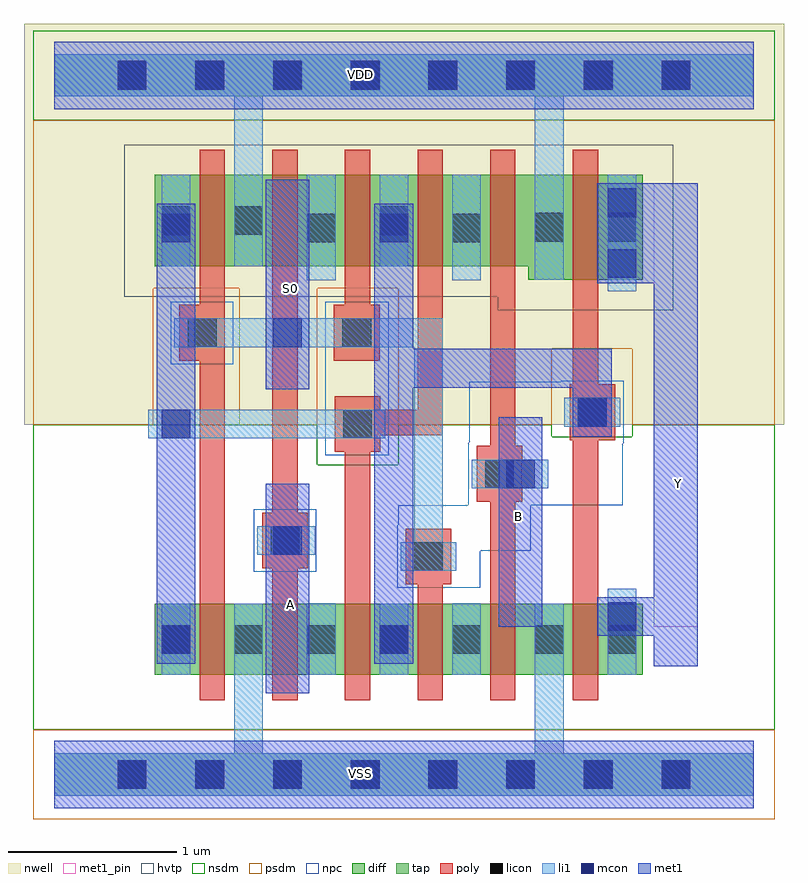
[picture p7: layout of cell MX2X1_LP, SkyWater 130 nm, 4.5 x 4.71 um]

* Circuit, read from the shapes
.subckt MX2X1_LP A B S0 VDD VSS Y
XM1 VSS S0 n1 VSS sky130_fd_pr__nfet_01v8 w=0.42 l=0.15
XM2 n2 A VSS VSS sky130_fd_pr__nfet_01v8 w=0.42 l=0.15
XM3 n3 n1 n2 VSS sky130_fd_pr__nfet_01v8 w=0.42 l=0.15
XM4 n4 S0 n3 VSS sky130_fd_pr__nfet_01v8 w=0.42 l=0.15
XM5 VSS B n4 VSS sky130_fd_pr__nfet_01v8 w=0.42 l=0.15
XM6 Y n3 VSS VSS sky130_fd_pr__nfet_01v8 w=0.42 l=0.15
XM7 VDD S0 n1 VDD sky130_fd_pr__pfet_01v8_hvt w=0.54 l=0.15
XM8 n5 A VDD VDD sky130_fd_pr__pfet_01v8_hvt w=0.54 l=0.15
XM9 n3 S0 n5 VDD sky130_fd_pr__pfet_01v8_hvt w=0.54 l=0.15
XM10 n6 n1 n3 VDD sky130_fd_pr__pfet_01v8_hvt w=0.54 l=0.15
XM11 VDD B n6 VDD sky130_fd_pr__pfet_01v8_hvt w=0.54 l=0.15
XM12 Y n3 VDD VDD sky130_fd_pr__pfet_01v8_hvt w=0.62 l=0.15
.ends

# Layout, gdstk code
from math import pi, radians
import gdstk
lib = gdstk.Library(unit=1e-6, precision=1e-09)
def R(c, l, rs):  # rectangles x0, y0, x1, y1
    for r in rs: c.add(gdstk.rectangle(r[:2], r[2:], *l))
def A(c, l, x, y, w, h, nx, ny, dx, dy):  # array of equal rectangles
    R(c, l, [(x+i*dx, y+j*dy, x+i*dx+w, y+j*dy+h) for i in range(nx) for j in range(ny)])
def P(c, l, *ps):  # polygons
    for p in ps: c.add(gdstk.Polygon(p, *l))
nwell = (64, 20)
diff = (65, 20)
tap = (65, 44)
poly = (66, 20)
licon = (66, 44)
li1 = (67, 20)
mcon = (67, 44)
met1_pin = (68, 16)
met1 = (68, 20)
hvtp = (78, 44)
nsdm = (93, 44)
psdm = (94, 20)
npc = (95, 20)

pyl1con_c_cdns_752016907 = lib.new_cell('PYL1CON_C_CDNS_752016907000')
R(pyl1con_c_cdns_752016907, poly, [(-0.135,-0.165,0.135,0.165)])
R(pyl1con_c_cdns_752016907, licon, [(-0.085,-0.085,0.085,0.085)])
R(pyl1con_c_cdns_752016907, npc, [(-0.185,-0.185,0.185,0.185)])

l1m1_c_cdns_752016907001 = lib.new_cell('L1M1_C_CDNS_752016907001')
R(l1m1_c_cdns_752016907001, li1, [(-0.085,-0.165,0.085,0.165)])
R(l1m1_c_cdns_752016907001, mcon, [(-0.085,-0.085,0.085,0.085)])
R(l1m1_c_cdns_752016907001, met1, [(-0.115,-0.145,0.115,0.145)])

c_l1m1_c_cdns_752016907001 = lib.new_cell('L1M1_C_CDNS_7520169070010')
R(c_l1m1_c_cdns_752016907001, li1, [(-0.085,-0.345,0.085,0.345)])
R(c_l1m1_c_cdns_752016907001, mcon, [(-0.085,-0.265,0.085,-0.095), (-0.085,0.095,0.085,0.265)])
R(c_l1m1_c_cdns_752016907001, met1, [(-0.145,-0.295,0.195,0.295)])

c_l1m1_c_cdns_752016907001_ = lib.new_cell('L1M1_C_CDNS_7520169070011')
R(c_l1m1_c_cdns_752016907001_, li1, [(-0.085,-0.165,0.085,0.165)])
R(c_l1m1_c_cdns_752016907001_, mcon, [(-0.085,-0.085,0.085,0.085)])
R(c_l1m1_c_cdns_752016907001_, met1, [(-0.145,-0.115,0.195,0.115)])

l1m1_c_cdns_752016907003 = lib.new_cell('L1M1_C_CDNS_752016907003')
R(l1m1_c_cdns_752016907003, li1, [(-0.165,-0.085,0.165,0.085)])
R(l1m1_c_cdns_752016907003, mcon, [(-0.085,-0.085,0.085,0.085)])
R(l1m1_c_cdns_752016907003, met1, [(-0.115,-0.145,0.115,0.145)])

licondiff_c_cdns_7520169 = lib.new_cell('LICONDIFF_C_CDNS_752016907004')
R(licondiff_c_cdns_7520169, diff, [(-0.125,-0.145,0.125,0.145)])
R(licondiff_c_cdns_7520169, licon, [(-0.085,-0.085,0.085,0.085), (-0.085,-0.085,0.085,0.085)])

mx2x1_lp = lib.new_cell('MX2X1_LP')
R(mx2x1_lp, nwell, [(-0.18,2.07,4.32,4.445)])
R(mx2x1_lp, diff, [(0.595,0.59,3.485,1.01)])
P(mx2x1_lp, diff, [(3.485,3.55),(0.595,3.55),(0.595,3.01),(2.805,3.01),(2.805,2.93),(3.485,2.93)])
R(mx2x1_lp, poly, [(0.86,0.44,1.01,3.7), (1.29,0.44,1.44,3.7), (2.15,0.44,2.3,1.425), (2.58,0.44,2.73,3.7), (3.07,0.44,3.22,3.7), (1.72,2.53,1.87,3.7)])
P(mx2x1_lp, poly, [(2.3,3.7),(2.15,3.7),(2.15,2.16),(1.72,2.16),(1.72,0.44),(1.87,0.44),(1.87,2.01),(2.3,2.01)])
A(mx2x1_lp, licon, 0.375, -0.085, 0.17, 0.17, 8, 2, 0.46, 4.14)
R(mx2x1_lp, licon, [(0.635,0.715,0.805,0.885), (1.065,0.715,1.235,0.885), (1.925,0.715,2.095,0.885), (2.845,0.715,3.015,0.885), (3.275,0.715,3.445,0.885), (2.845,3.155,3.015,3.325), (3.275,3.155,3.445,3.325), (0.635,3.195,0.805,3.365), (1.065,3.195,1.235,3.365), (1.925,3.195,2.095,3.365)])
R(mx2x1_lp, li1, [(0.635,0.59,0.805,1.01), (1.925,0.59,2.095,1.01), (3.275,0.59,3.445,1.01), (3.275,2.93,3.445,3.55), (0.635,3.01,0.805,3.55), (1.925,3.01,2.095,3.55)])
P(mx2x1_lp, li1, [(2.38,1.375),(2.3,1.375),(2.3,2.7),(0.71,2.7),(0.71,2.53),(2.13,2.53),(2.13,1.375),(2.05,1.375),(2.05,1.205),(2.38,1.205)],
  [(4.14,4.265),(0,4.265),(0,4.015),(1.065,4.015),(1.065,3.01),(1.235,3.01),(1.235,4.015),(2.845,4.015),(2.845,2.93),(3.015,2.93),(3.015,4.015),(4.14,4.015)],
  [(4.14,0.125),(3.015,0.125),(3.015,1.01),(2.845,1.01),(2.845,0.125),(1.235,0.125),(1.235,1.01),(1.065,1.01),(1.065,0.125),(0,0.125),(0,-0.125),(4.14,-0.125)])
A(mx2x1_lp, mcon, 0.375, -0.085, 0.17, 0.17, 8, 2, 0.46, 4.14)
R(mx2x1_lp, met1_pin, [(1.25,0.48,1.51,1.72), (2.63,0.875,2.89,2.115), (3.55,0.875,3.81,3.5), (1.25,2.28,1.51,3.52)])
P(mx2x1_lp, met1, [(3.3,2.52),(2.125,2.52),(2.125,3.235),(1.895,3.235),(1.895,0.8),(2.125,0.8),(2.125,2.29),(3.3,2.29)])
P(mx2x1_lp, hvtp, [(3.665,3.73),(0.415,3.73),(0.415,2.83),(2.625,2.83),(2.625,2.75),(3.665,2.75)])
R(mx2x1_lp, nsdm, [(-0.125,3.875,4.265,4.405)])
P(mx2x1_lp, nsdm, [(4.265,2.07),(3.42,2.07),(3.42,2),(2.945,2),(2.945,2.07),(2.035,2.07),(2.035,1.835),(1.555,1.835),(1.555,2.07),(-0.125,2.07),(-0.125,0.265),(4.265,0.265)])
R(mx2x1_lp, psdm, [(-0.125,-0.265,4.265,0.265)])
P(mx2x1_lp, psdm, [(4.265,3.875),(-0.125,3.875),(-0.125,2.07),(0.585,2.07),(0.585,2.88),(1.095,2.88),(1.095,2.07),(1.555,2.07),(1.555,2.88),(2.035,2.88),(2.035,2.07),(2.945,2.07),(2.945,2.52),(3.42,2.52),(3.42,2.07),(4.265,2.07)])
R(mx2x1_lp, npc, [(1.605,1.89,1.98,2.8)])
P(mx2x1_lp, npc, [(3.365,2.325),(2.455,2.325),(2.455,1.595),(2.035,1.595),(2.035,1.105),(2.52,1.105),(2.52,1.325),(2.82,1.325),(2.82,1.595),(3.365,1.595)])
mx2x1_lp.add(gdstk.FlexPath([(1.58,2.925),(1.58,3.55)], 0.17, ends="flush", simple_path=True, layer=67, datatype=20))  # li1
mx2x1_lp.add(gdstk.FlexPath([(2.44,2.925),(2.44,3.55)], 0.17, ends="flush", simple_path=True, layer=67, datatype=20))  # li1
mx2x1_lp.add(gdstk.FlexPath([(2.44,0.59),(2.44,1.015)], 0.17, ends="flush", simple_path=True, layer=67, datatype=20))  # li1
mx2x1_lp.add(gdstk.FlexPath([(1.58,0.59),(1.58,1.015)], 0.17, ends="flush", simple_path=True, layer=67, datatype=20))  # li1
mx2x1_lp.add(gdstk.FlexPath([(0.72,2.075),(1.96,2.075)], 0.17, ends="flush", simple_path=True, layer=67, datatype=20))  # li1
mx2x1_lp.add(gdstk.FlexPath([(2.76,1.78),(2.47,1.78)], 0.17, ends="flush", simple_path=True, layer=67, datatype=20))  # li1
mx2x1_lp.add(gdstk.FlexPath([(1.38,1.385),(1.2,1.385)], 0.17, ends="flush", simple_path=True, layer=67, datatype=20))  # li1
mx2x1_lp.add(gdstk.FlexPath([(0,4.14),(4.14,4.14)], 0.4, ends="flush", simple_path=True, layer=68, datatype=20))  # met1
mx2x1_lp.add(gdstk.FlexPath([(0,0),(4.14,0)], 0.4, ends="flush", simple_path=True, layer=68, datatype=20))  # met1
mx2x1_lp.add(gdstk.FlexPath([(3.68,0.64),(3.68,3.5)], 0.26, ends="flush", simple_path=True, layer=68, datatype=20))  # met1
mx2x1_lp.add(gdstk.FlexPath([(0.72,3.235),(0.72,0.8)], 0.23, ends="flush", simple_path=True, layer=68, datatype=20))  # met1
mx2x1_lp.add(gdstk.FlexPath([(1.38,2.28),(1.38,3.52)], 0.26, ends="flush", simple_path=True, layer=68, datatype=20))  # met1
mx2x1_lp.add(gdstk.FlexPath([(2.76,2.115),(2.76,0.875)], 0.26, ends="flush", simple_path=True, layer=68, datatype=20))  # met1
mx2x1_lp.add(gdstk.FlexPath([(1.38,0.48),(1.38,1.72)], 0.26, ends="flush", simple_path=True, layer=68, datatype=20))  # met1
mx2x1_lp.add(gdstk.FlexPath([(0,4.14),(4.14,4.14)], 0.25, ends="flush", simple_path=True, layer=65, datatype=44))  # tap
mx2x1_lp.add(gdstk.FlexPath([(0,0),(4.14,0)], 0.25, ends="flush", simple_path=True, layer=65, datatype=44))  # tap
mx2x1_lp.add(gdstk.FlexPath([(0,0),(4.14,0)], 0.4, ends="flush", simple_path=True, layer=68, datatype=16))  # met1_pin
mx2x1_lp.add(gdstk.FlexPath([(0,4.14),(4.14,4.14)], 0.4, ends="flush", simple_path=True, layer=68, datatype=16))  # met1_pin
mx2x1_lp.add(gdstk.Reference(pyl1con_c_cdns_752016907, (3.185,2.145), x_reflection=True))
mx2x1_lp.add(gdstk.Reference(pyl1con_c_cdns_752016907, (2.635,1.78), x_reflection=True))
mx2x1_lp.add(gdstk.Reference(pyl1con_c_cdns_752016907, (1.365,1.385), x_reflection=True))
mx2x1_lp.add(gdstk.Reference(pyl1con_c_cdns_752016907, (1.795,2.075), x_reflection=True))
mx2x1_lp.add(gdstk.Reference(pyl1con_c_cdns_752016907, (2.215,1.29), x_reflection=True))
mx2x1_lp.add(gdstk.Reference(pyl1con_c_cdns_752016907, (1.79,2.615), x_reflection=True))
mx2x1_lp.add(gdstk.Reference(pyl1con_c_cdns_752016907, (0.875,2.615), x_reflection=True))
mx2x1_lp.add(gdstk.Reference(l1m1_c_cdns_752016907001, (0.72,3.235)))
mx2x1_lp.add(gdstk.Reference(l1m1_c_cdns_752016907001, (0.72,0.8)))
mx2x1_lp.add(gdstk.Reference(l1m1_c_cdns_752016907001, (2.01,0.8)))
mx2x1_lp.add(gdstk.Reference(l1m1_c_cdns_752016907001, (2.01,3.235)))
mx2x1_lp.add(gdstk.Reference(c_l1m1_c_cdns_752016907001, (3.36,3.205)))
mx2x1_lp.add(gdstk.Reference(c_l1m1_c_cdns_752016907001_, (3.36,0.935)))
mx2x1_lp.add(gdstk.Reference(l1m1_c_cdns_752016907003, (1.38,1.385), x_reflection=True))
mx2x1_lp.add(gdstk.Reference(l1m1_c_cdns_752016907003, (2.76,1.78), rotation=pi, x_reflection=True))
mx2x1_lp.add(gdstk.Reference(l1m1_c_cdns_752016907003, (3.185,2.145)))
mx2x1_lp.add(gdstk.Reference(l1m1_c_cdns_752016907003, (1.38,2.615), x_reflection=True))
mx2x1_lp.add(gdstk.Reference(l1m1_c_cdns_752016907003, (0.72,2.075)))
mx2x1_lp.add(gdstk.Reference(licondiff_c_cdns_7520169, (2.44,0.8)))
mx2x1_lp.add(gdstk.Reference(licondiff_c_cdns_7520169, (1.58,0.8)))
mx2x1_lp.add(gdstk.Reference(licondiff_c_cdns_7520169, (2.44,3.235)))
mx2x1_lp.add(gdstk.Reference(licondiff_c_cdns_7520169, (1.58,3.235)))
mx2x1_lp.add(gdstk.Label('VSS', (1.81,0.005), layer=68, texttype=5))
mx2x1_lp.add(gdstk.Label('A', (1.395,1.005), layer=68, texttype=5))
mx2x1_lp.add(gdstk.Label('VDD', (1.81,4.145), layer=68, texttype=5))
mx2x1_lp.add(gdstk.Label('B', (2.75,1.525), layer=68, texttype=5))
mx2x1_lp.add(gdstk.Label('S0', (1.395,2.875), layer=68, texttype=5))
mx2x1_lp.add(gdstk.Label('Y', (3.695,1.72), layer=68, texttype=5))

lib.write_gds('MX2X1_LP.gds')
